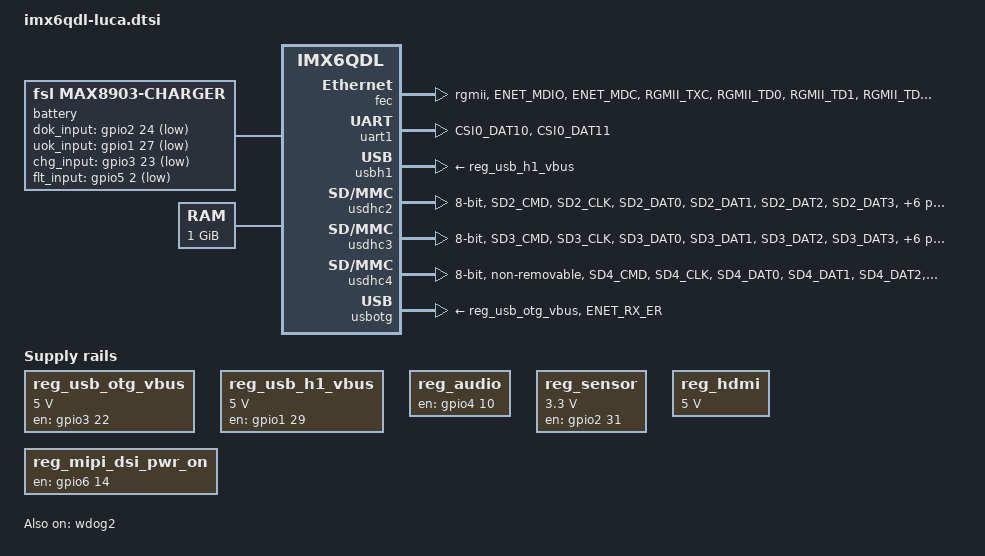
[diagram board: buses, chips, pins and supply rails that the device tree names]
/*
 * Copyright 2012-2016 Freescale Semiconductor, Inc.
 * Copyright 2011 Linaro Ltd.
 *
 * The code contained herein is licensed under the GNU General Public
 * License. You may obtain a copy of the GNU General Public License
 * Version 2 or later at the following locations:
 *
 * http://www.opensource.org/licenses/gpl-license.html
 * http://www.gnu.org/copyleft/gpl.html
 */

#include <dt-bindings/gpio/gpio.h>
#include <dt-bindings/input/input.h>

/ {
	aliases {
	};

	battery: max8903@0 {
		compatible = "fsl,max8903-charger";
		pinctrl-names = "default";
		dok_input = <&gpio2 24 1>;
		uok_input = <&gpio1 27 1>;
		chg_input = <&gpio3 23 1>;
		flt_input = <&gpio5 2 1>;
		fsl,dcm_always_high;
		fsl,dc_valid;
		fsl,usb_valid;
		status = "okay";
	};

	hannstar_cabc {
		compatible = "hannstar,cabc";
		lvds0 {
			gpios = <&gpio6 15 GPIO_ACTIVE_HIGH>;
		};
		lvds1 {
			gpios = <&gpio6 16 GPIO_ACTIVE_HIGH>;
		};
	};

	chosen {
		stdout-path = &uart1;
	};

	memory: memory {
		reg = <0x10000000 0x40000000>;
	};

	regulators {
		compatible = "simple-bus";
		#address-cells = <1>;
		#size-cells = <0>;

		reg_usb_otg_vbus: regulator@0 {
			compatible = "regulator-fixed";
			reg = <0>;
			regulator-name = "usb_otg_vbus";
			regulator-min-microvolt = <5000000>;
			regulator-max-microvolt = <5000000>;
			gpio = <&gpio3 22 0>;
			enable-active-high;
		};

		reg_usb_h1_vbus: regulator@1 {
			compatible = "regulator-fixed";
			reg = <1>;
			regulator-name = "usb_h1_vbus";
			regulator-min-microvolt = <5000000>;
			regulator-max-microvolt = <5000000>;
			gpio = <&gpio1 29 0>;
			enable-active-high;
		};

		reg_audio: regulator@2 {
			compatible = "regulator-fixed";
			reg = <2>;
			regulator-name = "wm8962-supply";
			gpio = <&gpio4 10 0>;
			enable-active-high;
		};

		reg_sensor: regulator@4 {
			compatible = "regulator-fixed";
			reg = <4>;
			regulator-name = "sensor-supply";
			regulator-min-microvolt = <3300000>;
			regulator-max-microvolt = <3300000>;
			gpio = <&gpio2 31 0>;
			startup-delay-us = <500>;
			enable-active-high;
		};

		reg_hdmi: regulator@5 {
			compatible = "regulator-fixed";
			reg = <5>;
			regulator-name = "hdmi-5v-supply";
			regulator-min-microvolt = <5000000>;
			regulator-max-microvolt = <5000000>;
			enable-active-high;
		};

		reg_mipi_dsi_pwr_on: mipi_dsi_pwr_on {
			compatible = "regulator-fixed";
			regulator-name = "mipi_dsi_pwr_on";
			gpio = <&gpio6 14 0>;
			enable-active-high;
		};
	};
};

&clks {
	fsl,ldb-di0-parent = <&clks IMX6QDL_CLK_PLL2_PFD0_352M>;
	fsl,ldb-di1-parent = <&clks IMX6QDL_CLK_PLL2_PFD0_352M>;
};

&fec {
	pinctrl-names = "default";
	pinctrl-0 = <&pinctrl_enet>;
	phy-mode = "rgmii";
	phy-reset-gpios = <&gpio1 25 0>;
	fsl,magic-packet;
	status = "okay";
};

&iomuxc {
	pinctrl-names = "default";
	pinctrl-0 = <&pinctrl_hog>;

	imx6qdl-sabresd {
		pinctrl_hog: hoggrp {
			fsl,pins = <
				MX6QDL_PAD_NANDF_D0__GPIO2_IO00 0x80000000
				MX6QDL_PAD_NANDF_D1__GPIO2_IO01 0x80000000
				MX6QDL_PAD_NANDF_D2__GPIO2_IO02 0x80000000
				MX6QDL_PAD_NANDF_D3__GPIO2_IO03 0x80000000
				MX6QDL_PAD_GPIO_0__CCM_CLKO1    0x130b0
				MX6QDL_PAD_ENET_TXD1__GPIO1_IO29 0x80000000
				MX6QDL_PAD_EIM_D22__GPIO3_IO22  0x80000000
				MX6QDL_PAD_ENET_CRS_DV__GPIO1_IO25 0x80000000
				MX6QDL_PAD_EIM_D26__GPIO3_IO26 0x80000000
				MX6QDL_PAD_EIM_CS1__GPIO2_IO24 0x80000000
				MX6QDL_PAD_ENET_RXD0__GPIO1_IO27 0x80000000
				MX6QDL_PAD_EIM_A25__GPIO5_IO02 0x80000000
				MX6QDL_PAD_EIM_D23__GPIO3_IO23 0x80000000
				MX6QDL_PAD_EIM_EB3__GPIO2_IO31 0x80000000
				MX6QDL_PAD_SD1_CMD__GPIO1_IO18 0x80000000
				MX6QDL_PAD_EIM_D16__GPIO3_IO16 0x80000000
				MX6QDL_PAD_SD3_RST__GPIO7_IO08	0x80000000
				MX6QDL_PAD_GPIO_9__GPIO1_IO09 	0x80000000
				MX6QDL_PAD_EIM_DA9__GPIO3_IO09 0x80000000
				MX6QDL_PAD_NANDF_CS0__GPIO6_IO11 0x80000000
				MX6QDL_PAD_NANDF_CS1__GPIO6_IO14 0x80000000
				MX6QDL_PAD_NANDF_CS2__GPIO6_IO15 0x80000000
				MX6QDL_PAD_NANDF_CS3__GPIO6_IO16 0x80000000
			>;
		};

		pinctrl_enet: enetgrp {
			fsl,pins = <
				MX6QDL_PAD_ENET_MDIO__ENET_MDIO		0x1b0b0
				MX6QDL_PAD_ENET_MDC__ENET_MDC		0x1b0b0
				MX6QDL_PAD_RGMII_TXC__RGMII_TXC		0x1b0b0
				MX6QDL_PAD_RGMII_TD0__RGMII_TD0		0x1b0b0
				MX6QDL_PAD_RGMII_TD1__RGMII_TD1		0x1b0b0
				MX6QDL_PAD_RGMII_TD2__RGMII_TD2		0x1b0b0
				MX6QDL_PAD_RGMII_TD3__RGMII_TD3		0x1b0b0
				MX6QDL_PAD_RGMII_TX_CTL__RGMII_TX_CTL	0x1b0b0
				MX6QDL_PAD_ENET_REF_CLK__ENET_TX_CLK	0x1b0b0
				MX6QDL_PAD_RGMII_RXC__RGMII_RXC		0x1b0b0
				MX6QDL_PAD_RGMII_RD0__RGMII_RD0		0x1b0b0
				MX6QDL_PAD_RGMII_RD1__RGMII_RD1		0x1b0b0
				MX6QDL_PAD_RGMII_RD2__RGMII_RD2		0x1b0b0
				MX6QDL_PAD_RGMII_RD3__RGMII_RD3		0x1b0b0
				MX6QDL_PAD_RGMII_RX_CTL__RGMII_RX_CTL	0x1b0b0
				MX6QDL_PAD_GPIO_16__ENET_REF_CLK	0x4001b0a8
			>;
		};

		pinctrl_enet_irq: enetirqgrp {
			fsl,pins = <
				MX6QDL_PAD_GPIO_6__ENET_IRQ		0x000b1
			>;
		};

		pinctrl_uart1: uart1grp {
			fsl,pins = <
				MX6QDL_PAD_CSI0_DAT10__UART1_TX_DATA	0x1b0b1
				MX6QDL_PAD_CSI0_DAT11__UART1_RX_DATA	0x1b0b1
			>;
		};

		pinctrl_usbotg: usbotggrp {
			fsl,pins = <
				MX6QDL_PAD_ENET_RX_ER__USB_OTG_ID	0x17059
			>;
		};

		pinctrl_usdhc2: usdhc2grp {
			fsl,pins = <
				MX6QDL_PAD_SD2_CMD__SD2_CMD		0x17059
				MX6QDL_PAD_SD2_CLK__SD2_CLK		0x10059
				MX6QDL_PAD_SD2_DAT0__SD2_DATA0		0x17059
				MX6QDL_PAD_SD2_DAT1__SD2_DATA1		0x17059
				MX6QDL_PAD_SD2_DAT2__SD2_DATA2		0x17059
				MX6QDL_PAD_SD2_DAT3__SD2_DATA3		0x17059
				MX6QDL_PAD_NANDF_D4__SD2_DATA4		0x17059
				MX6QDL_PAD_NANDF_D5__SD2_DATA5		0x17059
				MX6QDL_PAD_NANDF_D6__SD2_DATA6		0x17059
				MX6QDL_PAD_NANDF_D7__SD2_DATA7		0x17059
			>;
		};

		pinctrl_usdhc3: usdhc3grp {
			fsl,pins = <
				MX6QDL_PAD_SD3_CMD__SD3_CMD		0x17059
				MX6QDL_PAD_SD3_CLK__SD3_CLK		0x10059
				MX6QDL_PAD_SD3_DAT0__SD3_DATA0		0x17059
				MX6QDL_PAD_SD3_DAT1__SD3_DATA1		0x17059
				MX6QDL_PAD_SD3_DAT2__SD3_DATA2		0x17059
				MX6QDL_PAD_SD3_DAT3__SD3_DATA3		0x17059
				MX6QDL_PAD_SD3_DAT4__SD3_DATA4		0x17059
				MX6QDL_PAD_SD3_DAT5__SD3_DATA5		0x17059
				MX6QDL_PAD_SD3_DAT6__SD3_DATA6		0x17059
				MX6QDL_PAD_SD3_DAT7__SD3_DATA7		0x17059
			>;
		};

		pinctrl_usdhc4: usdhc4grp {
			fsl,pins = <
				MX6QDL_PAD_SD4_CMD__SD4_CMD		0x17059
				MX6QDL_PAD_SD4_CLK__SD4_CLK		0x10059
				MX6QDL_PAD_SD4_DAT0__SD4_DATA0		0x17059
				MX6QDL_PAD_SD4_DAT1__SD4_DATA1		0x17059
				MX6QDL_PAD_SD4_DAT2__SD4_DATA2		0x17059
				MX6QDL_PAD_SD4_DAT3__SD4_DATA3		0x17059
				MX6QDL_PAD_SD4_DAT4__SD4_DATA4		0x17059
				MX6QDL_PAD_SD4_DAT5__SD4_DATA5		0x17059
				MX6QDL_PAD_SD4_DAT6__SD4_DATA6		0x17059
				MX6QDL_PAD_SD4_DAT7__SD4_DATA7		0x17059
			>;
		};

		pinctrl_wdog: wdoggrp {
			fsl,pins = <
				MX6QDL_PAD_GPIO_1__WDOG2_B 0x80000000
			>;
		};
	};
};

&uart1 {
	pinctrl-names = "default";
	pinctrl-0 = <&pinctrl_uart1>;
	status = "okay";
};

&usbh1 {
	vbus-supply = <&reg_usb_h1_vbus>;
	status = "okay";
};

&usdhc2 {
	pinctrl-names = "default";
	pinctrl-0 = <&pinctrl_usdhc2>;
	bus-width = <8>;
	cd-gpios = <&gpio2 2 GPIO_ACTIVE_LOW>;
	wp-gpios = <&gpio2 3 GPIO_ACTIVE_HIGH>;
	no-1-8-v;
	keep-power-in-suspend;
	enable-sdio-wakeup;
	status = "okay";
};

&usdhc3 {
	pinctrl-names = "default";
	pinctrl-0 = <&pinctrl_usdhc3>;
	bus-width = <8>;
	cd-gpios = <&gpio2 0 GPIO_ACTIVE_LOW>;
	wp-gpios = <&gpio2 1 GPIO_ACTIVE_HIGH>;
	no-1-8-v;
	keep-power-in-suspend;
	enable-sdio-wakeup;
	status = "okay";
};

&usdhc4 {
	pinctrl-names = "default";
	pinctrl-0 = <&pinctrl_usdhc4>;
	bus-width = <8>;
	non-removable;
	no-1-8-v;
	keep-power-in-suspend;
	status = "okay";
};

&usbotg {
	vbus-supply = <&reg_usb_otg_vbus>;
	pinctrl-names = "default";
	pinctrl-0 = <&pinctrl_usbotg>;
	disable-over-current;
	srp-disable;
	hnp-disable;
	adp-disable;
	status = "okay";
};

&usbphy1 {
	tx-d-cal = <0x5>;
};

&usbphy2 {
	tx-d-cal = <0x5>;
};

&wdog1 {
	status = "disabled";
};

&wdog2 {
	pinctrl-names = "default";
	pinctrl-0 = <&pinctrl_wdog>;
	fsl,wdog_b;
	status = "okay";
};
